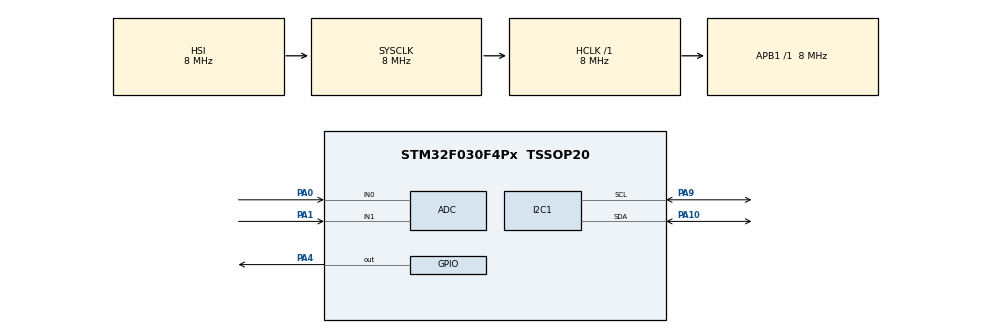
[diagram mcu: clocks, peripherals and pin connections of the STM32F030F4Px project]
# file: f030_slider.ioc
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ADC.ContinuousConvMode=DISABLE
ADC.DMAContinuousRequests=DISABLE
ADC.ExternalTrigConv=ADC_EXTERNALTRIGCONV_T1_CC4
ADC.SamplingTime=ADC_SAMPLETIME_239CYCLES_5
Dma.ADC.0.Direction=DMA_PERIPH_TO_MEMORY
Dma.ADC.0.Instance=DMA1_Channel1
Dma.ADC.0.MemDataAlignment=DMA_MDATAALIGN_HALFWORD
Dma.ADC.0.MemInc=DMA_MINC_ENABLE
Dma.ADC.0.Mode=DMA_CIRCULAR
Dma.ADC.0.PeriphDataAlignment=DMA_PDATAALIGN_HALFWORD
Dma.ADC.0.PeriphInc=DMA_PINC_DISABLE
Dma.ADC.0.Priority=DMA_PRIORITY_LOW
Dma.Request0=ADC
I2C1.OwnAddress=0x20
Mcu.Family=STM32F0
Mcu.Name=STM32F030F4Px
Mcu.Package=TSSOP20
NVIC.DMA1_Channel1_IRQn=true\:0\:0\:false\:false\:true\:false\:true\:true
NVIC.I2C1_IRQn=true\:0\:0\:false\:false\:true\:true\:true\:true
PA0.Mode=IN0
PA0.Signal=ADC_IN0
PA1.Mode=IN1
PA1.Signal=ADC_IN1
PA10.Mode=I2C
PA10.Signal=I2C1_SDA
PA13.Mode=Serial_Wire
PA13.Signal=SYS_SWDIO
PA14.Mode=Serial_Wire
PA14.Signal=SYS_SWCLK
PA4.Signal=GPIO_Output
PA9.Mode=I2C
PA9.Signal=I2C1_SCL
ProjectManager.HeapSize=0x200
ProjectManager.StackSize=0x400
ProjectManager.TargetToolchain=STM32CubeIDE
RCC.AHBFreq_Value=8000000
RCC.APB1Freq_Value=8000000
RCC.APB1TimFreq_Value=8000000
RCC.HCLKFreq_Value=8000000
RCC.SYSCLKFreq_VALUE=8000000
TIM1.Channel-Output\ Compare4\ No\ Output=TIM_CHANNEL_4
TIM1.OCMode_4=TIM_OCMODE_TOGGLE
TIM1.Period=20-1
TIM1.Prescaler=8000-1
VP_TIM1_VS_no_output4.Mode=Output Compare4 No Output
board=custom

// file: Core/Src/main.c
/* USER CODE BEGIN Header */
/**
  ******************************************************************************
  * @file           : main.c
  * @brief          : Main program body
  ******************************************************************************
  * @attention
  *
  * Copyright (c) 2023 STMicroelectronics.
  * All rights reserved.
  *
  * This software is licensed under terms that can be found in the LICENSE file
  * in the root directory of this software component.
  * If no LICENSE file comes with this software, it is provided AS-IS.
  *
  ******************************************************************************
  */
/* USER CODE END Header */
#include "main.h"

/* USER CODE BEGIN PD */
#define CMD_GET_SENSOR		0xBA // get x,y
/* USER CODE END PD */

ADC_HandleTypeDef hadc;
DMA_HandleTypeDef hdma_adc;

I2C_HandleTypeDef hi2c1;

TIM_HandleTypeDef htim1;

/* USER CODE BEGIN PV */
uint8_t i2c_recv_buf[8];
uint8_t i2c_send_buf[8];
uint8_t packet_size = 0;

uint16_t adc_buff[2];

volatile uint8_t flag = 0;
volatile uint8_t transferDirection, transferRequested, i2c_data_ready;

/* USER CODE END PV */

void SystemClock_Config(void);
static void MX_GPIO_Init(void);
static void MX_DMA_Init(void);
static void MX_ADC_Init(void);
static void MX_I2C1_Init(void);
static void MX_TIM1_Init(void);
/* USER CODE BEGIN PFP */
void packInt(uint8_t target[], volatile uint16_t source[], uint8_t ssize, uint8_t tstart);
void handleI2C();

/* USER CODE END PFP */

int main(void)
{

  /* MCU Configuration--------------------------------------------------------*/

  /* Reset of all peripherals, Initializes the Flash interface and the Systick. */
  HAL_Init();

  /* Configure the system clock */
  SystemClock_Config();

  /* Initialize all configured peripherals */
  MX_GPIO_Init();
  MX_DMA_Init();
  MX_ADC_Init();
  MX_I2C1_Init();
  MX_TIM1_Init();
  /* USER CODE BEGIN 2 */
  HAL_ADCEx_Calibration_Start(&hadc); // калибровка АЦП
  HAL_ADC_Start_DMA(&hadc, (uint32_t*)&adc_buff, 2); // запуск DMA
  HAL_TIM_OC_Start(&htim1, TIM_CHANNEL_4); // запуск таймера для опроса АЦП
  HAL_I2C_EnableListen_IT(&hi2c1);
  /* USER CODE END 2 */

  /* Infinite loop */
  /* USER CODE BEGIN WHILE */
  while (1)
  {
	  handleI2C();
    /* USER CODE END WHILE */

  }
}

void SystemClock_Config(void)
{
  RCC_OscInitTypeDef RCC_OscInitStruct = {0};
  RCC_ClkInitTypeDef RCC_ClkInitStruct = {0};
  RCC_PeriphCLKInitTypeDef PeriphClkInit = {0};

  /** Initializes the RCC Oscillators according to the specified parameters
  * in the RCC_OscInitTypeDef structure.
  */
  RCC_OscInitStruct.OscillatorType = RCC_OSCILLATORTYPE_HSI|RCC_OSCILLATORTYPE_HSI14;
  RCC_OscInitStruct.HSIState = RCC_HSI_ON;
  RCC_OscInitStruct.HSI14State = RCC_HSI14_ON;
  RCC_OscInitStruct.HSICalibrationValue = RCC_HSICALIBRATION_DEFAULT;
  RCC_OscInitStruct.HSI14CalibrationValue = 16;
  RCC_OscInitStruct.PLL.PLLState = RCC_PLL_NONE;
  if (HAL_RCC_OscConfig(&RCC_OscInitStruct) != HAL_OK)
  {
    Error_Handler();
  }

  /** Initializes the CPU, AHB and APB buses clocks
  */
  RCC_ClkInitStruct.ClockType = RCC_CLOCKTYPE_HCLK|RCC_CLOCKTYPE_SYSCLK
                              |RCC_CLOCKTYPE_PCLK1;
  RCC_ClkInitStruct.SYSCLKSource = RCC_SYSCLKSOURCE_HSI;
  RCC_ClkInitStruct.AHBCLKDivider = RCC_SYSCLK_DIV1;
  RCC_ClkInitStruct.APB1CLKDivider = RCC_HCLK_DIV1;

  if (HAL_RCC_ClockConfig(&RCC_ClkInitStruct, FLASH_LATENCY_0) != HAL_OK)
  {
    Error_Handler();
  }
  PeriphClkInit.PeriphClockSelection = RCC_PERIPHCLK_I2C1;
  PeriphClkInit.I2c1ClockSelection = RCC_I2C1CLKSOURCE_HSI;
  if (HAL_RCCEx_PeriphCLKConfig(&PeriphClkInit) != HAL_OK)
  {
    Error_Handler();
  }
}

static void MX_ADC_Init(void)
{

  ADC_ChannelConfTypeDef sConfig = {0};

  /** Configure the global features of the ADC (Clock, Resolution, Data Alignment and number of conversion)
  */
  hadc.Instance = ADC1;
  hadc.Init.ClockPrescaler = ADC_CLOCK_ASYNC_DIV1;
  hadc.Init.Resolution = ADC_RESOLUTION_12B;
  hadc.Init.DataAlign = ADC_DATAALIGN_RIGHT;
  hadc.Init.ScanConvMode = ADC_SCAN_DIRECTION_FORWARD;
  hadc.Init.EOCSelection = ADC_EOC_SINGLE_CONV;
  hadc.Init.LowPowerAutoWait = DISABLE;
  hadc.Init.LowPowerAutoPowerOff = DISABLE;
  hadc.Init.ContinuousConvMode = DISABLE;
  hadc.Init.DiscontinuousConvMode = DISABLE;
  hadc.Init.ExternalTrigConv = ADC_EXTERNALTRIGCONV_T1_CC4;
  hadc.Init.ExternalTrigConvEdge = ADC_EXTERNALTRIGCONVEDGE_RISING;
  hadc.Init.DMAContinuousRequests = DISABLE;
  hadc.Init.Overrun = ADC_OVR_DATA_PRESERVED;
  if (HAL_ADC_Init(&hadc) != HAL_OK)
  {
    Error_Handler();
  }

  /** Configure for the selected ADC regular channel to be converted.
  */
  sConfig.Channel = ADC_CHANNEL_0;
  sConfig.Rank = ADC_RANK_CHANNEL_NUMBER;
  sConfig.SamplingTime = ADC_SAMPLETIME_239CYCLES_5;
  if (HAL_ADC_ConfigChannel(&hadc, &sConfig) != HAL_OK)
  {
    Error_Handler();
  }

  /** Configure for the selected ADC regular channel to be converted.
  */
  sConfig.Channel = ADC_CHANNEL_1;
  if (HAL_ADC_ConfigChannel(&hadc, &sConfig) != HAL_OK)
  {
    Error_Handler();
  }

}

static void MX_I2C1_Init(void)
{

  hi2c1.Instance = I2C1;
  hi2c1.Init.Timing = 0x2000090E;
  hi2c1.Init.OwnAddress1 = 64;
  hi2c1.Init.AddressingMode = I2C_ADDRESSINGMODE_7BIT;
  hi2c1.Init.DualAddressMode = I2C_DUALADDRESS_DISABLE;
  hi2c1.Init.OwnAddress2 = 0;
  hi2c1.Init.OwnAddress2Masks = I2C_OA2_NOMASK;
  hi2c1.Init.GeneralCallMode = I2C_GENERALCALL_DISABLE;
  hi2c1.Init.NoStretchMode = I2C_NOSTRETCH_DISABLE;
  if (HAL_I2C_Init(&hi2c1) != HAL_OK)
  {
    Error_Handler();
  }

  /** Configure Analogue filter
  */
  if (HAL_I2CEx_ConfigAnalogFilter(&hi2c1, I2C_ANALOGFILTER_ENABLE) != HAL_OK)
  {
    Error_Handler();
  }

  /** Configure Digital filter
  */
  if (HAL_I2CEx_ConfigDigitalFilter(&hi2c1, 0) != HAL_OK)
  {
    Error_Handler();
  }

}

static void MX_TIM1_Init(void)
{

  TIM_MasterConfigTypeDef sMasterConfig = {0};
  TIM_OC_InitTypeDef sConfigOC = {0};
  TIM_BreakDeadTimeConfigTypeDef sBreakDeadTimeConfig = {0};

  htim1.Instance = TIM1;
  htim1.Init.Prescaler = 8000-1;
  htim1.Init.CounterMode = TIM_COUNTERMODE_UP;
  htim1.Init.Period = 20-1;
  htim1.Init.ClockDivision = TIM_CLOCKDIVISION_DIV1;
  htim1.Init.RepetitionCounter = 0;
  htim1.Init.AutoReloadPreload = TIM_AUTORELOAD_PRELOAD_DISABLE;
  if (HAL_TIM_OC_Init(&htim1) != HAL_OK)
  {
    Error_Handler();
  }
  sMasterConfig.MasterOutputTrigger = TIM_TRGO_RESET;
  sMasterConfig.MasterSlaveMode = TIM_MASTERSLAVEMODE_DISABLE;
  if (HAL_TIMEx_MasterConfigSynchronization(&htim1, &sMasterConfig) != HAL_OK)
  {
    Error_Handler();
  }
  sConfigOC.OCMode = TIM_OCMODE_TOGGLE;
  sConfigOC.Pulse = 0;
  sConfigOC.OCPolarity = TIM_OCPOLARITY_HIGH;
  sConfigOC.OCFastMode = TIM_OCFAST_DISABLE;
  sConfigOC.OCIdleState = TIM_OCIDLESTATE_RESET;
  sConfigOC.OCNIdleState = TIM_OCNIDLESTATE_RESET;
  if (HAL_TIM_OC_ConfigChannel(&htim1, &sConfigOC, TIM_CHANNEL_4) != HAL_OK)
  {
    Error_Handler();
  }
  sBreakDeadTimeConfig.OffStateRunMode = TIM_OSSR_DISABLE;
  sBreakDeadTimeConfig.OffStateIDLEMode = TIM_OSSI_DISABLE;
  sBreakDeadTimeConfig.LockLevel = TIM_LOCKLEVEL_OFF;
  sBreakDeadTimeConfig.DeadTime = 0;
  sBreakDeadTimeConfig.BreakState = TIM_BREAK_DISABLE;
  sBreakDeadTimeConfig.BreakPolarity = TIM_BREAKPOLARITY_HIGH;
  sBreakDeadTimeConfig.AutomaticOutput = TIM_AUTOMATICOUTPUT_DISABLE;
  if (HAL_TIMEx_ConfigBreakDeadTime(&htim1, &sBreakDeadTimeConfig) != HAL_OK)
  {
    Error_Handler();
  }

}

static void MX_DMA_Init(void)
{

  /* DMA controller clock enable */
  __HAL_RCC_DMA1_CLK_ENABLE();

  /* DMA interrupt init */
  /* DMA1_Channel1_IRQn interrupt configuration */
  HAL_NVIC_SetPriority(DMA1_Channel1_IRQn, 0, 0);
  HAL_NVIC_EnableIRQ(DMA1_Channel1_IRQn);

}

static void MX_GPIO_Init(void)
{
  GPIO_InitTypeDef GPIO_InitStruct = {0};

  /* GPIO Ports Clock Enable */
  __HAL_RCC_GPIOA_CLK_ENABLE();

  /*Configure GPIO pin Output Level */
  HAL_GPIO_WritePin(GPIOA, GPIO_PIN_4, GPIO_PIN_RESET);

  /*Configure GPIO pin : PA4 */
  GPIO_InitStruct.Pin = GPIO_PIN_4;
  GPIO_InitStruct.Mode = GPIO_MODE_OUTPUT_PP;
  GPIO_InitStruct.Pull = GPIO_NOPULL;
  GPIO_InitStruct.Speed = GPIO_SPEED_FREQ_LOW;
  HAL_GPIO_Init(GPIOA, &GPIO_InitStruct);

}

/* USER CODE BEGIN 4 */
void packInt(uint8_t target[], volatile uint16_t source[], uint8_t ssize, uint8_t tstart){
	for(uint8_t i=0; i<ssize; i++){
		target[tstart+i*2] = source[i] & 0xFF;
		target[tstart+i*2+1] = source[i]>>8;
	}
}
void handleI2C(){
	if(i2c_data_ready){
		i2c_data_ready = 0;

		switch(i2c_recv_buf[0]) {
    		case CMD_GET_SENSOR:
    			HAL_ADC_Stop_DMA(&hadc);

    			packInt(i2c_send_buf, adc_buff, 2, 0);

    			HAL_ADC_Start_DMA(&hadc, (uint32_t*)adc_buff, 2);
    			break;
    		default:
    			i2c_send_buf[0] = 0xFF;
    			packet_size = 1;
		}
	}

}
void HAL_I2C_AddrCallback(I2C_HandleTypeDef *hi2c, uint8_t TransferDirection, uint16_t AddrMatchCode) {
	UNUSED(AddrMatchCode);

	if(hi2c->Instance == I2C1) {
		transferRequested = 1;
		transferDirection = TransferDirection;

		if(transferDirection == TRANSFER_DIR_WRITE) {
			HAL_I2C_Slave_Seq_Transmit_IT(&hi2c1, i2c_send_buf, 4, I2C_LAST_FRAME);
		} else {
			HAL_I2C_Slave_Seq_Receive_IT(&hi2c1, i2c_recv_buf, 1, I2C_FIRST_FRAME);
		}
	}
}
void HAL_I2C_SlaveTxCpltCallback(I2C_HandleTypeDef *hi2c){
	transferRequested = 0;
}
void HAL_I2C_SlaveRxCpltCallback(I2C_HandleTypeDef *hi2c){
	transferRequested = 0;
	i2c_data_ready = 1;
}
void HAL_I2C_ListenCpltCallback(I2C_HandleTypeDef *hi2c){
	HAL_I2C_EnableListen_IT(hi2c);
}
/* USER CODE END 4 */

void Error_Handler(void)
{
  __disable_irq();
  while (1)
  {
  }
}
